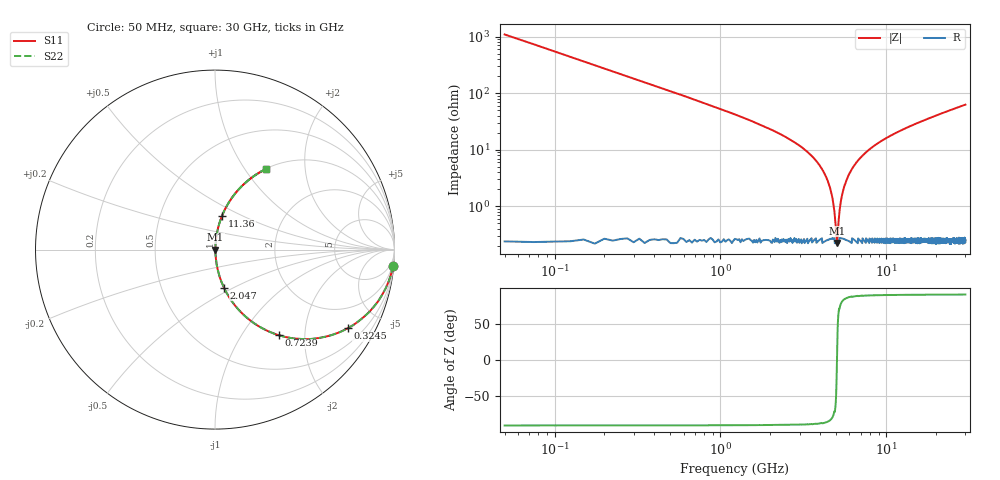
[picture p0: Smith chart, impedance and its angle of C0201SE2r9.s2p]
!	AVX Thin Film Operation 	Date: April 2014
!	Description: Accu-P® Series, Thin Film  SMD RF Capacitor
!	Part Number: 02013J2R9QBSTR
# MHZ S MA R 50
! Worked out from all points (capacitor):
!   1201 points, 50 MHz to 30 GHz, reference 50 ohm
!   read as one part in series: C = 2.9 pF near 199.8 MHz
!   lowest |Z| = 224 mohm at 5.042 GHz (marker M1)
!   series resonance near 5.043 GHz, so ESL is about 340 pH
!   S11 on the Smith chart (normalised r, x): 50 MHz: 1, -22; 324.5 MHz: 1.01, -3.37; 723.9 MHz: 1.01, -1.48; 2.047 GHz: 1.00, -0.45; 11.36 GHz: 1.00, +0.39; 30 GHz: 1.00, +1.26
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50  0.996 -5.2  0.091 84.8  0.091 84.8  0.996 -5.2
324.542  0.859 -30.7  0.51 59.2  0.51 59.2  0.859 -30.7
723.875  0.595 -53.3  0.802 36.5  0.802 36.5  0.595 -53.3
1223.042  0.388 -66.8  0.919 22.8  0.919 22.8  0.388 -66.8
2046.667  0.218 -76.8  0.974 12.6  0.974 12.6  0.218 -76.8
3419.375  0.086 -83.4  0.994 4.9  0.994 4.9  0.086 -83.4
4193.083  0.04 -84.2  0.997 2.3  0.997 2.3  0.04 -84.2
4642.333  0.018 -81.1  0.997 1.0  0.997 1.0  0.018 -81.1
4792.083  0.011 -76.8  0.997 0.6  0.997 0.6  0.011 -76.8
4941.833  0.005058 -60.5  0.998 0.3  0.998 0.3  0.005058 -60.5
5041.667  0.002475 -1.6  0.998 0.0  0.998 0.0  0.002475 -1.6
5141.5  0.004865 59.2  0.998 -0.2  0.998 -0.2  0.004865 59.2
5316.208  0.012 77.1  0.997 -0.7  0.997 -0.7  0.012 77.1
5515.875  0.02 81.6  0.997 -1.1  0.997 -1.1  0.02 81.6
6289.583  0.048 84.3  0.996 -2.8  0.996 -2.8  0.048 84.3
7662.292  0.093 83.1  0.993 -5.3  0.993 -5.3  0.093 83.1
10058.29  0.16 79.9  0.985 -9.2  0.985 -9.2  0.16 79.9
11356.12  0.193 78.2  0.979 -11.1  0.979 -11.1  0.193 78.2
15025  0.276 73.5  0.959 -16.0  0.959 -16.0  0.276 73.5
20016.67  0.374 67.7  0.925 -22.0  0.925 -22.0  0.374 67.7
25033.29  0.459 62.4  0.886 -27.3  0.886 -27.3  0.459 62.4
30000  0.532 57.7  0.845 -32.1  0.845 -32.1  0.532 57.7
